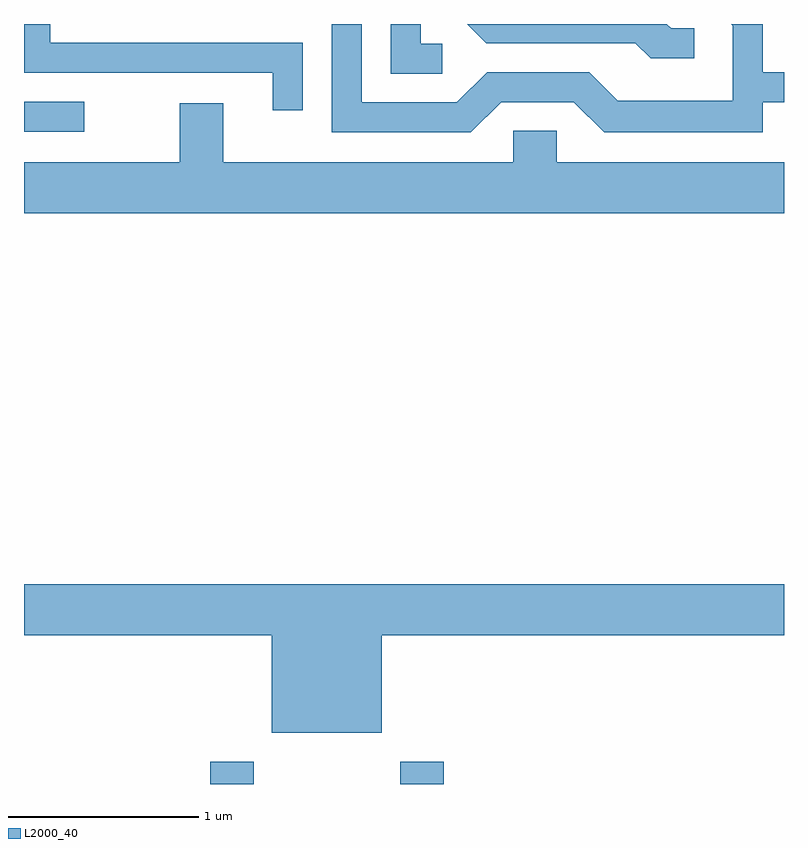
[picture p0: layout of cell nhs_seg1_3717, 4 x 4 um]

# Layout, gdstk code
import gdstk
lib = gdstk.Library(unit=1e-6, precision=1e-09)
def R(c, l, rs):  # rectangles x0, y0, x1, y1
    for r in rs: c.add(gdstk.rectangle(r[:2], r[2:], *l))
def P(c, l, *ps):  # polygons
    for p in ps: c.add(gdstk.Polygon(p, *l))
L2000_40 = (2000, 40)

nhs_seg1_3717 = lib.new_cell('nhs_seg1_3717')
R(nhs_seg1_3717, L2000_40, [(298.591,867.712,298.819,867.829), (299.591,867.712,299.819,867.829), (297.611,871.146,297.928,871.304)])
P(nhs_seg1_3717, L2000_40, [(299.813,871.609),(299.699,871.609),(299.699,871.712),(299.541,871.712),(299.541,871.451),(299.813,871.451)],
  [(301.138,871.689),(301.017,871.689),(300.994,871.712),(299.943,871.712),(300.044,871.611),(300.829,871.611),(300.909,871.531),(301.138,871.531)],
  [(299.079,871.614),(297.749,871.614),(297.749,871.712),(297.611,871.712),(297.611,871.456),(298.921,871.456),(298.921,871.258),(299.079,871.258)],
  [(300.122,871.301),(300.504,871.301),(300.664,871.141),(301.499,871.141),(301.499,871.301),(301.611,871.301),(301.611,871.459),(301.499,871.459),(301.499,871.712),(301.333,871.712),(301.341,871.704),(301.341,871.309),(300.737,871.309),(300.587,871.459),(300.049,871.459),(299.889,871.299),(299.389,871.299),(299.389,871.712),(299.231,871.712),(299.231,871.141),(299.962,871.141)],
  [(301.611,870.984),(300.414,870.984),(300.414,871.149),(300.186,871.149),(300.186,870.984),(298.659,870.984),(298.659,871.294),(298.431,871.294),(298.431,870.984),(297.611,870.984),(297.611,870.716),(301.611,870.716)],
  [(299.494,868.496),(301.611,868.496),(301.611,868.764),(297.611,868.764),(297.611,868.496),(298.916,868.496),(298.916,867.981),(299.494,867.981)])

lib.write_gds('nhs_seg1_3717.gds')
